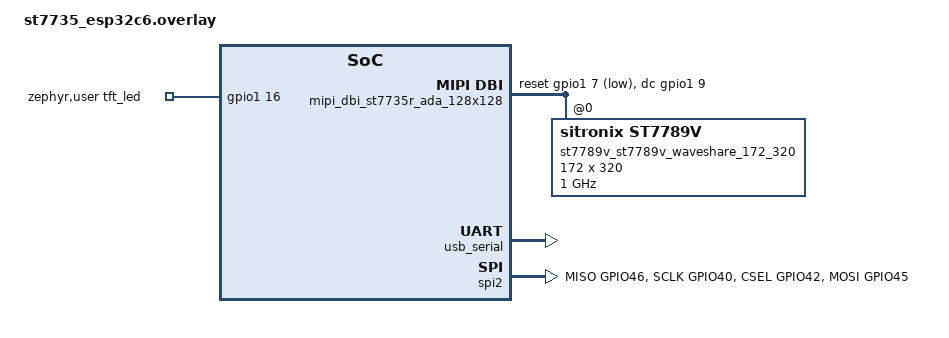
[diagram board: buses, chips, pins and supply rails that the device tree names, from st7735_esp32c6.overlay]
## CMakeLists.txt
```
# cmake boilerplate
cmake_minimum_required(VERSION 3.3.0)

# add modules
list(APPEND EXTRA_ZEPHYR_MODULES
    ${CMAKE_CURRENT_SOURCE_DIR}/../../modules/AnimatedGIF
)

# import custom board package
# list(APPEND BOARD_ROOT ${CMAKE_CURRENT_SOURCE_DIR}/../../)

# import overlays for CPUs
set(DTC_OVERLAY_FILE ${CMAKE_CURRENT_SOURCE_DIR}/st7735_esp32c6.overlay)

# add drivers

# add modules
set(EXTRA_CONF_FILE ${CMAKE_CURRENT_SOURCE_DIR}/prj.conf)

# add zephyr package
find_package(Zephyr REQUIRED HINTS $ENV{ZEPHYR_BASE})

# declare project
project(PixyToyZephyr)

# add sources
file(GLOB_RECURSE srcs ${CMAKE_CURRENT_SOURCE_DIR}/src/*.c*)

target_sources(app
    PRIVATE ${srcs}
)

target_include_directories(app
    PUBLIC ${CMAKE_CURRENT_SOURCE_DIR}/include/
)
```

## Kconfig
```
menu "Pixy Toy Shell PRO CPU"

source "Kconfig.zephyr"

endmenu
```

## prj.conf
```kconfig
CONFIG_ASSERT=y

CONFIG_ESPTOOLPY_FLASHMODE_QIO=y
CONFIG_ESPTOOLPY_FLASHFREQ_80M=y
CONFIG_ESPTOOLPY_FLASHSIZE_8MB=y

# bootloader
# CONFIG_BOOTLOADER_MCUBOOT=y

# compiler settings
CONFIG_CPP=y
CONFIG_STD_CPP2B=y
CONFIG_REQUIRES_FULL_LIBCPP=y
CONFIG_CPP_EXCEPTIONS=y
CONFIG_CPP_RTTI=y

CONFIG_NEWLIB_LIBC=y
CONFIG_COMMON_LIBC_ASCTIME_R=y
CONFIG_COMMON_LIBC_CTIME_R=y
CONFIG_COMMON_LIBC_MALLOC=y
CONFIG_NEWLIB_LIBC_FLOAT_PRINTF=y
CONFIG_NEWLIB_LIBC_HEAP_LISTENER=y

CONFIG_STD_C23=y
CONFIG_GNU_C_EXTENSIONS=y
CONFIG_DEBUG_OPTIMIZATIONS=y
CONFIG_COMPILER_WARNINGS_AS_ERRORS=y
CONFIG_COMPILER_SAVE_TEMPS=y
CONFIG_FORTIFY_SOURCE_RUN_TIME=y
# CONFIG_MISRA_SANE=y

CONFIG_SYS_HASH_FUNC32=y
CONFIG_SYS_HASH_MAP=y
CONFIG_SHARED_MULTI_HEAP=y

#debug settings
CONFIG_PRINTK=y

CONFIG_LOG=y
CONFIG_LOG_DEFAULT_LEVEL=2
CONFIG_SHELL_LOG_BACKEND=y
CONFIG_LOG_BACKEND_UART=y

# shell settings
CONFIG_SHELL=y
CONFIG_SHELL_PROMPT_UART="ST7789:~$ "

CONFIG_FILE_SYSTEM_SHELL=y

CONFIG_GPIO=y
CONFIG_GPIO_SHELL=y

CONFIG_I2C=y
CONFIG_I2C_SHELL=y

CONFIG_SPI=y
CONFIG_SPI_SHELL=y

CONFIG_DISPLAY=y
CONFIG_SHELL=y
CONFIG_HEAP_MEM_POOL_SIZE=16384


CONFIG_LVGL=y
CONFIG_LV_USE_LOG=y
CONFIG_LV_USE_LABEL=y
CONFIG_LV_USE_ARC=y
CONFIG_LV_USE_MONKEY=y
CONFIG_LV_FONT_MONTSERRAT_14=y
CONFIG_LV_Z_MEM_POOL_SIZE=16384
CONFIG_LV_Z_SHELL=y
CONFIG_LV_USE_DEMO_STRESS=y
CONFIG_LV_X11_DOUBLE_BUFFER=y
```

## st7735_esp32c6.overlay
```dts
/*
* Copyright (c) 2020, Kim Bøndergaard, <kim@fam-boendergaard.dk>
*
* SPDX-License-Identifier: Apache-2.0
*/

#include <zephyr/dt-bindings/mipi_dbi/mipi_dbi.h>

&usb_serial {
	status = "okay";
};

/* 16MB flash */
&flash0 {
	reg = <0x0 DT_SIZE_M(16)>;
};

/* 8MB psram */
&psram0 {
	size = <DT_SIZE_M(8)>;
};

&pinctrl {
	spim2tft_default: spim2tft_default {
		group1 {
			pinmux = <SPIM2_MISO_GPIO46>,
			<SPIM2_SCLK_GPIO40>,
			<SPIM2_CSEL_GPIO42>;
		};
		group2 {
			pinmux = <SPIM2_MOSI_GPIO45>;
			output-low;
		};
	};
};

&spi2 {
	pinctrl-0 = <&spim2tft_default>;
};

/ {
	chosen {
		// zephyr,display = &st7735r_st7735r_ada_128x128;
		zephyr,display = &st7789v_st7789v_waveshare_172_320;
		
		zephyr,console = &usb_serial;
		zephyr,shell-uart = &usb_serial;
	};
	
	zephyr,user {
		tft_led-gpios = <&gpio1 16 GPIO_ACTIVE_HIGH>;
	};
	
	mipi_dbi_st7735r_ada_128x128 {
		compatible = "zephyr,mipi-dbi-spi";
		spi-dev = <&spi2>;
		dc-gpios = <&gpio1 9 GPIO_ACTIVE_HIGH>;	    /* D41 */
		reset-gpios = <&gpio1 7 GPIO_ACTIVE_LOW>;	/* D39 */
		#address-cells = <1>;
		#size-cells = <0>;
		
		st7789v_st7789v_waveshare_172_320: st7789v@0 {
			compatible = "sitronix,st7789v";
			mipi-max-frequency = <1000000000>;
			reg = <0>;
			width = <172>;
			height = <320>;
			x-offset = <34>;
			y-offset = <0>;
			vcom = <0x19>;
			gctrl = <0x35>;
			vrhs = <0x12>;
			vdvs = <0x20>;
			mdac = <0x00>;
			gamma = <0x00>;
			colmod = <0x05>;
			lcm = <0x2c>;
			porch-param = [0c 0c 00 33 33];
			cmd2en-param = [5a 69 02 01];
			pwctrl1-param = [a4 a1];
			pvgam-param = [D0 04 0D 11 13 2B 3F 54 4C 18 0D 0B 1F 23];
			nvgam-param = [D0 04 0C 11 13 2C 3F 44 51 2F 1F 1F 20 23];
			ram-param = [00 F0];
			rgb-param = [CD 08 14];
			mipi-mode = "MIPI_DBI_MODE_SPI_4WIRE";
		};
		
		// st7735r_st7735r_ada_128x128: st7735r@0 {
		// 	compatible = "sitronix,st7735r";
		// 	mipi-max-frequency = <20000000>;
		// 	mipi-mode = "MIPI_DBI_MODE_SPI_4WIRE";
		// 	reg = <0>;
		// 	width = <128>;
		// 	height = <128>;
		// 	x-offset = <0>;
		// 	y-offset = <0>;
		// 	madctl = <0x60>;
		// 	colmod = <0x55>;
		// 	vmctr1 = <0x0e>;
		// 	pwctr1 = [a2 02 84];
		// 	pwctr2 = [c5];
		// 	pwctr3 = [0a 00];
		// 	pwctr4 = [8a 2a];
		// 	pwctr5 = [8a ee];
		// 	frmctr1 = [01 2c 2d];
		// 	frmctr2 = [01 2c 2d];
		// 	frmctr3 = [01 2c 2d 01 2c 2d];
		// 	gamctrp1 = [02 1c 07 12 37 32 29 2d 29 25 2b 39 00 01 03 10];
		// 	gamctrn1 = [03 1d 07 06 2e 2c 29 2d 2e 2e 37 3f 00 00 02 10];
		// };
	};
};
```

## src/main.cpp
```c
#include <stdio.h>
#include <stdlib.h>
#include <ctime>

#include <zephyr/kernel.h>
#include <zephyr/device.h>
#include <zephyr/display/cfb.h>
#include <zephyr/drivers/gpio.h>

#include <zephyr/logging/log.h>
LOG_MODULE_REGISTER(LVGL);

#include "pin_defines.hpp"

#include <lvgl.h>
#include <lvgl_input_device.h>

static void init_tft()
{
    const struct device* display_dev = DEVICE_DT_GET(DT_CHOSEN(zephyr_display));
    if (!device_is_ready(display_dev)) {
        LOG_ERR("Device not ready, aborting test");
        return;
    }

    /* turn on TFT LED */
    const struct gpio_dt_spec tft_led = TFT_LED_GPIO;
    gpio_pin_configure_dt(&tft_led, GPIO_OUTPUT_ACTIVE | GPIO_ACTIVE_HIGH);

    display_set_orientation(display_dev, DISPLAY_ORIENTATION_ROTATED_180);

    display_blanking_off(display_dev);
}

static void lvgl_demo()
{
    lv_obj_set_style_bg_color(lv_screen_active(), lv_color_hex(0x003a57),
                              LV_PART_MAIN);

    lv_obj_t* hello_world_label;

    lv_obj_t* hello_world_button = lv_button_create(lv_screen_active());
    lv_obj_align(hello_world_button, LV_ALIGN_CENTER, 0, 0);
    lv_obj_add_event_cb(hello_world_button, NULL, LV_EVENT_CLICKED, NULL);
    hello_world_label = lv_label_create(hello_world_button);
}

static void lv_task_handler(struct k_timer* timer)
{
    lv_timer_handler();
}

K_TIMER_DEFINE(lvgl_timer, lv_task_handler, nullptr);

int main()
{
    printk("Welcome to ST7789 demo!\n");

    init_tft();
    // lvgl_demo();

    k_timer_start(&lvgl_timer, K_NO_WAIT, K_NO_WAIT);

    k_thread_suspend(k_current_get());

    return 0;
}
```

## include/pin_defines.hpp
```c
#pragma once

#include <stdio.h>
#include <stdlib.h>

#include <zephyr/kernel.h>
#include <zephyr/drivers/gpio.h>

#define ZEPHYR_USER_NODE DT_PATH(zephyr_user)

#define TFT_LED_GPIO     GPIO_DT_SPEC_GET(ZEPHYR_USER_NODE, tft_led_gpios)
```
